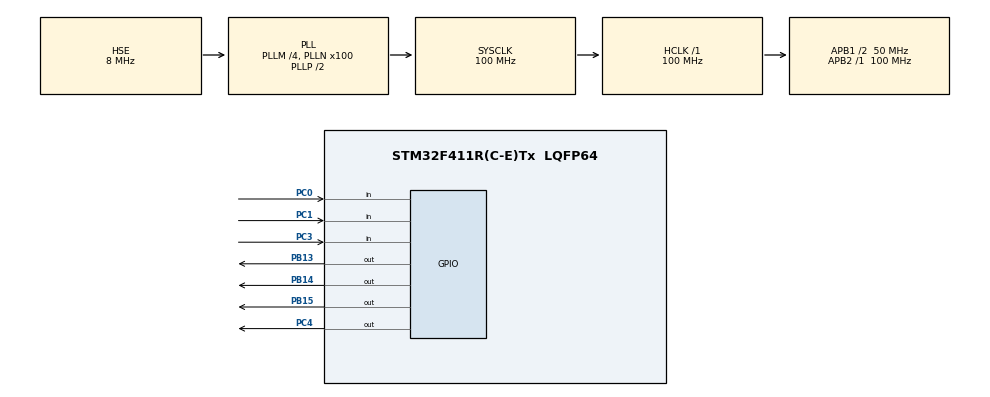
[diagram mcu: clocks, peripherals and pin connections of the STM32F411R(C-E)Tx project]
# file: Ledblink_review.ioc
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Mcu.Family=STM32F4
Mcu.Name=STM32F411R(C-E)Tx
Mcu.Package=LQFP64
NVIC.PriorityGroup=NVIC_PRIORITYGROUP_4
PB13.Signal=GPIO_Output
PB14.Signal=GPIO_Output
PB15.Signal=GPIO_Output
PC0.Signal=GPIO_Input
PC1.Signal=GPIO_Input
PC3.Signal=GPIO_Input
PC4.Signal=GPIO_Output
PH0\ -\ OSC_IN.Mode=HSE-External-Oscillator
PH0\ -\ OSC_IN.Signal=RCC_OSC_IN
PH1\ -\ OSC_OUT.Mode=HSE-External-Oscillator
PH1\ -\ OSC_OUT.Signal=RCC_OSC_OUT
ProjectManager.HeapSize=0x200
ProjectManager.StackSize=0x400
ProjectManager.TargetToolchain=STM32CubeIDE
RCC.48MHZClocksFreq_Value=50000000
RCC.AHBFreq_Value=100000000
RCC.APB1CLKDivider=RCC_HCLK_DIV2
RCC.APB1Freq_Value=50000000
RCC.APB1TimFreq_Value=100000000
RCC.APB2Freq_Value=100000000
RCC.APB2TimFreq_Value=100000000
RCC.CortexFreq_Value=100000000
RCC.HCLKFreq_Value=100000000
RCC.HSE_VALUE=8000000
RCC.HSI_VALUE=16000000
RCC.LSE_VALUE=32768
RCC.PLLM=4
RCC.PLLN=100
RCC.PLLSourceVirtual=RCC_PLLSOURCE_HSE
RCC.SYSCLKFreq_VALUE=100000000
RCC.SYSCLKSource=RCC_SYSCLKSOURCE_PLLCLK
RCC.VCOOutputFreq_Value=200000000
board=custom

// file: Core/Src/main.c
/* USER CODE BEGIN Header */
/**
 ******************************************************************************
 * @file           : main.c
 * @brief          : Main program body
 ******************************************************************************
 * @attention
 *
 * Copyright (c) 2026 STMicroelectronics.
 * All rights reserved.
 *
 * This software is licensed under terms that can be found in the LICENSE file
 * in the root directory of this software component.
 * If no LICENSE file comes with this software, it is provided AS-IS.
 *
 ******************************************************************************
 */
/* USER CODE END Header */
#include "main.h"

/* USER CODE BEGIN PTD */

enum {
	LED_ON, LED_OFF, LED_TOGGLE
};

/* USER CODE END PTD */

/* USER CODE BEGIN PD */

#define BTN1_GPIO	GPIOC
#define BTN1_PIN	GPIO_PIN_0
#define BTN2_GPIO	GPIOC
#define BTN2_PIN	GPIO_PIN_1
#define BTN3_GPIO	GPIOC
#define BTN3_PIN	GPIO_PIN_3

#define LED1_GPIO	GPIOB
#define LED1_PIN	GPIO_PIN_15
#define LED2_GPIO	GPIOB
#define LED2_PIN	GPIO_PIN_14
#define LED3_GPIO	GPIOB
#define LED3_PIN	GPIO_PIN_13
#define LED4_GPIO	GPIOC
#define LED4_PIN	GPIO_PIN_4

/* USER CODE END PD */

void SystemClock_Config(void);
static void MX_GPIO_Init(void);

/* USER CODE BEGIN 0 */
int state = LED_ON;

// led on -> set = 1
void led_on(GPIO_TypeDef *GPIOx, uint16_t GPIO_Pin) {
	HAL_GPIO_WritePin(GPIOx, GPIO_Pin, GPIO_PIN_SET);
}

// led off -> reset = 0
void led_off(GPIO_TypeDef *GPIOx, uint16_t GPIO_Pin) {
	HAL_GPIO_WritePin(GPIOx, GPIO_Pin, GPIO_PIN_RESET);
}

void led_toggle(GPIO_TypeDef *GPIOx, uint16_t GPIO_Pin) {
	HAL_GPIO_TogglePin(GPIOx, GPIO_Pin);
}

void led_on_state() {
	if (!HAL_GPIO_ReadPin(BTN2_GPIO, BTN2_PIN)) {
		state = LED_OFF;
	} else if (!HAL_GPIO_ReadPin(BTN3_GPIO, BTN3_PIN)) {
		state = LED_TOGGLE;
	}

	led_on(LED1_GPIO, LED1_PIN); // on
	led_on(LED2_GPIO, LED2_PIN); // on
	led_on(LED3_GPIO, LED3_PIN); // on
	led_on(LED4_GPIO, LED4_PIN); // on
}

void led_off_state() {
	if (!HAL_GPIO_ReadPin(BTN1_GPIO, BTN1_PIN)) {
		state = LED_ON;
	} else if (!HAL_GPIO_ReadPin(BTN3_GPIO, BTN3_PIN)) {
		state = LED_TOGGLE;
	}

	led_off(LED1_GPIO, LED1_PIN); // off
	led_off(LED2_GPIO, LED2_PIN); // off
	led_off(LED3_GPIO, LED3_PIN); // off
	led_off(LED4_GPIO, LED4_PIN); // off
}

void led_toggle_state() {
	if (!HAL_GPIO_ReadPin(BTN2_GPIO, BTN2_PIN)) {
		state = LED_OFF;
	} else if (!HAL_GPIO_ReadPin(BTN1_GPIO, BTN1_PIN)) {
		state = LED_ON;
	}

	led_toggle(LED1_GPIO, LED1_PIN);
	led_toggle(LED2_GPIO, LED2_PIN);
	led_toggle(LED3_GPIO, LED3_PIN);
	led_toggle(LED4_GPIO, LED4_PIN);
	HAL_Delay(200);
}

/* USER CODE END 0 */

int main(void) {

	/* MCU Configuration--------------------------------------------------------*/

	/* Reset of all peripherals, Initializes the Flash interface and the Systick. */
	HAL_Init();

	/* Configure the system clock */
	SystemClock_Config();

	/* Initialize all configured peripherals */
	MX_GPIO_Init();
	/* USER CODE BEGIN 2 */

	// state 초기값 = led_on
	/* USER CODE END 2 */

	/* Infinite loop */
	/* USER CODE BEGIN WHILE */
	while (1) {
		switch (state) {
		case LED_ON:
			led_on_state();
			break;
		case LED_OFF:
			led_off_state();
			break;
		case LED_TOGGLE:
			led_toggle_state();
			break;
		default:
			led_on_state();
			break;
		}
	}
	/* USER CODE END 3 */
}

void SystemClock_Config(void) {
	RCC_OscInitTypeDef RCC_OscInitStruct = { 0 };
	RCC_ClkInitTypeDef RCC_ClkInitStruct = { 0 };

	/** Configure the main internal regulator output voltage
	 */
	__HAL_RCC_PWR_CLK_ENABLE();
	__HAL_PWR_VOLTAGESCALING_CONFIG(PWR_REGULATOR_VOLTAGE_SCALE1);

	/** Initializes the RCC Oscillators according to the specified parameters
	 * in the RCC_OscInitTypeDef structure.
	 */
	RCC_OscInitStruct.OscillatorType = RCC_OSCILLATORTYPE_HSE;
	RCC_OscInitStruct.HSEState = RCC_HSE_ON;
	RCC_OscInitStruct.PLL.PLLState = RCC_PLL_ON;
	RCC_OscInitStruct.PLL.PLLSource = RCC_PLLSOURCE_HSE;
	RCC_OscInitStruct.PLL.PLLM = 4;
	RCC_OscInitStruct.PLL.PLLN = 100;
	RCC_OscInitStruct.PLL.PLLP = RCC_PLLP_DIV2;
	RCC_OscInitStruct.PLL.PLLQ = 4;
	if (HAL_RCC_OscConfig(&RCC_OscInitStruct) != HAL_OK) {
		Error_Handler();
	}

	/** Initializes the CPU, AHB and APB buses clocks
	 */
	RCC_ClkInitStruct.ClockType = RCC_CLOCKTYPE_HCLK | RCC_CLOCKTYPE_SYSCLK
			| RCC_CLOCKTYPE_PCLK1 | RCC_CLOCKTYPE_PCLK2;
	RCC_ClkInitStruct.SYSCLKSource = RCC_SYSCLKSOURCE_PLLCLK;
	RCC_ClkInitStruct.AHBCLKDivider = RCC_SYSCLK_DIV1;
	RCC_ClkInitStruct.APB1CLKDivider = RCC_HCLK_DIV2;
	RCC_ClkInitStruct.APB2CLKDivider = RCC_HCLK_DIV1;

	if (HAL_RCC_ClockConfig(&RCC_ClkInitStruct, FLASH_LATENCY_3) != HAL_OK) {
		Error_Handler();
	}
}

static void MX_GPIO_Init(void) {
	GPIO_InitTypeDef GPIO_InitStruct = { 0 };

	/* GPIO Ports Clock Enable */
	__HAL_RCC_GPIOH_CLK_ENABLE();
	__HAL_RCC_GPIOC_CLK_ENABLE();
	__HAL_RCC_GPIOB_CLK_ENABLE();

	/*Configure GPIO pin Output Level */
	HAL_GPIO_WritePin(GPIOC, GPIO_PIN_4, GPIO_PIN_RESET);

	/*Configure GPIO pin Output Level */
	HAL_GPIO_WritePin(GPIOB, GPIO_PIN_13 | GPIO_PIN_14 | GPIO_PIN_15,
			GPIO_PIN_RESET);

	/*Configure GPIO pins : PC0 PC1 PC3 */
	GPIO_InitStruct.Pin = GPIO_PIN_0 | GPIO_PIN_1 | GPIO_PIN_3;
	GPIO_InitStruct.Mode = GPIO_MODE_INPUT;
	GPIO_InitStruct.Pull = GPIO_NOPULL;
	HAL_GPIO_Init(GPIOC, &GPIO_InitStruct);

	/*Configure GPIO pin : PC4 */
	GPIO_InitStruct.Pin = GPIO_PIN_4;
	GPIO_InitStruct.Mode = GPIO_MODE_OUTPUT_PP;
	GPIO_InitStruct.Pull = GPIO_NOPULL;
	GPIO_InitStruct.Speed = GPIO_SPEED_FREQ_LOW;
	HAL_GPIO_Init(GPIOC, &GPIO_InitStruct);

	/*Configure GPIO pins : PB13 PB14 PB15 */
	GPIO_InitStruct.Pin = GPIO_PIN_13 | GPIO_PIN_14 | GPIO_PIN_15;
	GPIO_InitStruct.Mode = GPIO_MODE_OUTPUT_PP;
	GPIO_InitStruct.Pull = GPIO_NOPULL;
	GPIO_InitStruct.Speed = GPIO_SPEED_FREQ_LOW;
	HAL_GPIO_Init(GPIOB, &GPIO_InitStruct);

}

void Error_Handler(void) {
	__disable_irq();
	while (1) {
	}
}
